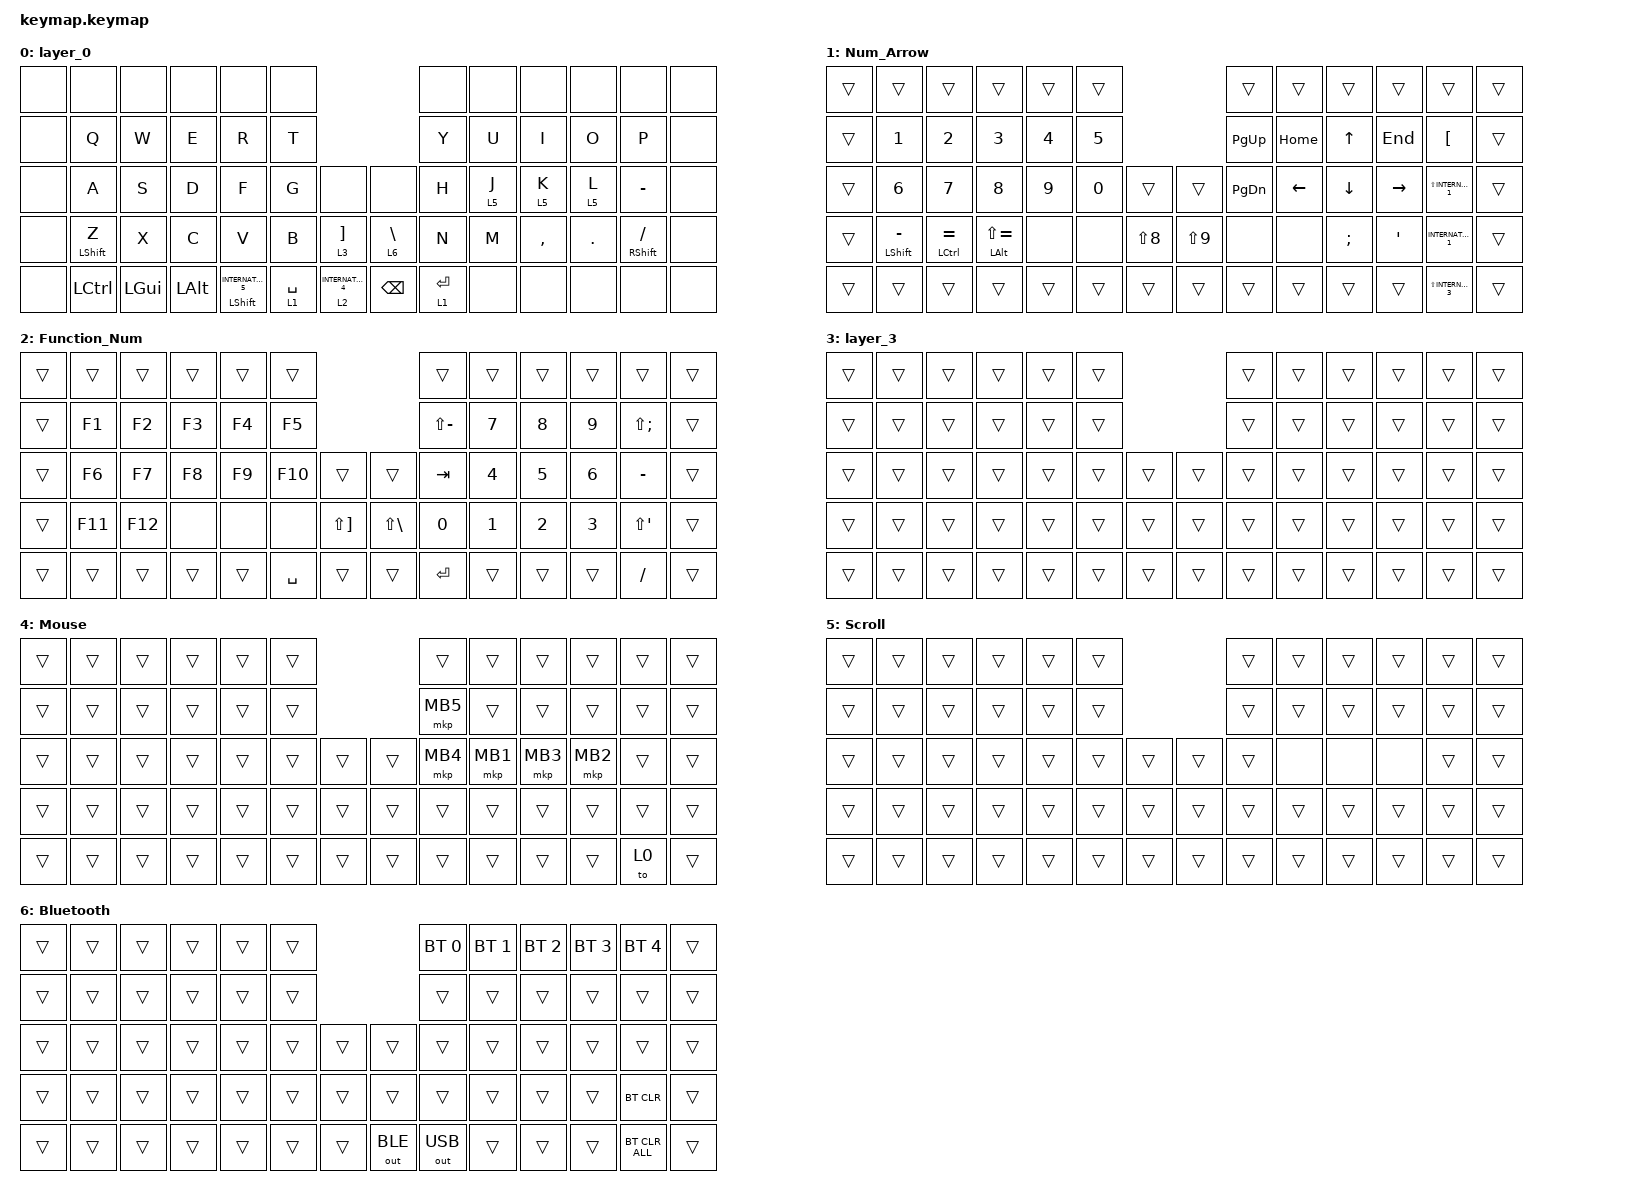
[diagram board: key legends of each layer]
#include <behaviors.dtsi>
#include <dt-bindings/zmk/bt.h>
#include <dt-bindings/zmk/keys.h>
#include <dt-bindings/zmk/outputs.h>
#include <dt-bindings/zmk/pointing.h>

&mt {
    flavor = "balanced";
    tapping-term-ms = <300>;
};

&lt {
    tapping-term-ms = <300>;
    flavor = "balanced";
};

/ {
    combos {
        compatible = "zmk,combos";

        tab {
            bindings = <&kp TAB>;
            key-positions = <13 14>;
        };

        esc {
            bindings = <&kp ESC>;
            key-positions = <13 14 15>;
        };

        del {
            bindings = <&kp DEL>;
            key-positions = <21 22>;
        };

        mouseL {
            bindings = <&mkp LCLK>;
            key-positions = <33 34>;
        };

        mouseR {
            bindings = <&mkp RCLK>;
            key-positions = <34 35>;
        };

        mouseM {
            bindings = <&mkp MCLK>;
            key-positions = <33 35>;
        };

        back {
            bindings = <&mkp MB4>;
            key-positions = <32 33>;
        };

        forward {
            bindings = <&mkp MB5>;
            key-positions = <18 19>;
        };

        curveL {
            bindings = <&kp LS(NUMBER_8)>;
            key-positions = <17 29>;
        };

        curveR {
            bindings = <&kp LS(NUMBER_9)>;
            key-positions = <18 32>;
        };

        dclick {
            bindings = <&dclick>;
            key-positions = <33 34 35>;
        };

        dclick2 {
            bindings = <&dclick>;
            key-positions = <33 19>;
        };

        bracketL {
            bindings = <&kp RIGHT_BRACKET>;
            key-positions = <29 43>;
        };

        bracketR {
            bindings = <&kp BACKSLASH>;
            key-positions = <32 46>;
        };

        toLayer4 {
            bindings = <&to 4>;
            key-positions = <63 64>;
        };
    };

    macros {
        dclick: dclick {
            compatible = "zmk,behavior-macro";
            #binding-cells = <0>;
            bindings = <&mkp LCLK &mkp LCLK>;
            label = "DCLICK";
        };
    };

    keymap {
        compatible = "zmk,keymap";

        layer_0 {
            bindings = <
&none  &none             &none     &none     &none                           &none                                                &none        &none    &none      &none    &none                 &none
&none  &kp Q             &kp W     &kp E     &kp R                           &kp T                                                &kp Y        &kp U    &kp I      &kp O    &kp P                 &none
&none  &kp A             &kp S     &kp D     &kp F                           &kp G        &none                  &none            &kp H        &lt 5 J  &lt 5 K    &lt 5 L  &kp MINUS             &none
&none  &mt LEFT_SHIFT Z  &kp X     &kp C     &kp V                           &kp B        &lt 3 RIGHT_BRACKET    &lt 6 BACKSLASH  &kp N        &kp M    &kp COMMA  &kp DOT  &mt RIGHT_SHIFT FSLH  &none
&none  &kp LCTRL         &kp LGUI  &kp LALT  &mt LEFT_SHIFT INTERNATIONAL_5  &lt 1 SPACE  &lt 2 INTERNATIONAL_4  &kp BACKSPACE    &lt 1 ENTER  &none    &none      &none    &none                 &none
            >;
        };

        Num_Arrow {
            bindings = <
&trans  &trans                &trans                  &trans                  &trans        &trans                                            &trans         &trans    &trans         &trans     &trans                   &trans
&trans  &kp NUMBER_1          &kp NUMBER_2            &kp NUMBER_3            &kp NUMBER_4  &kp N5                                            &kp PAGE_UP    &kp HOME  &kp UP         &kp END    &kp LEFT_BRACKET         &trans
&trans  &kp NUMBER_6          &kp NUMBER_7            &kp NUMBER_8            &kp NUMBER_9  &kp NUMBER_0  &trans            &trans            &kp PAGE_DOWN  &kp LEFT  &kp DOWN       &kp RIGHT  &kp LS(INTERNATIONAL_1)  &trans
&trans  &mt LEFT_SHIFT MINUS  &mt LEFT_CONTROL EQUAL  &mt LEFT_ALT LS(EQUAL)  &none         &none         &kp LS(NUMBER_8)  &kp LS(NUMBER_9)  &none          &none     &kp SEMICOLON  &kp SQT    &kp INTERNATIONAL_1      &trans
&trans  &trans                &trans                  &trans                  &trans        &trans        &trans            &trans            &trans         &trans    &trans         &trans     &kp LS(INTERNATIONAL_3)  &trans
            >;
        };

        Function_Num {
            bindings = <
&trans  &trans   &trans   &trans  &trans  &trans                                               &trans         &trans        &trans        &trans        &trans             &trans
&trans  &kp F1   &kp F2   &kp F3  &kp F4  &kp F5                                               &kp LS(MINUS)  &kp NUMBER_7  &kp NUMBER_8  &kp NUMBER_9  &kp LS(SEMICOLON)  &trans
&trans  &kp F6   &kp F7   &kp F8  &kp F9  &kp F10    &trans                 &trans             &kp TAB        &kp NUMBER_4  &kp NUMBER_5  &kp NUMBER_6  &kp MINUS          &trans
&trans  &kp F11  &kp F12  &none   &none   &none      &kp LS(RIGHT_BRACKET)  &kp LS(BACKSLASH)  &kp NUMBER_0   &kp NUMBER_1  &kp NUMBER_2  &kp NUMBER_3  &kp LS(SQT)        &trans
&trans  &trans   &trans   &trans  &trans  &kp SPACE  &trans                 &trans             &kp ENTER      &trans        &trans        &trans        &kp SLASH          &trans
            >;
        };

        layer_3 {
            bindings = <
&trans  &trans  &trans  &trans  &trans  &trans                  &trans  &trans  &trans  &trans  &trans  &trans
&trans  &trans  &trans  &trans  &trans  &trans                  &trans  &trans  &trans  &trans  &trans  &trans
&trans  &trans  &trans  &trans  &trans  &trans  &trans  &trans  &trans  &trans  &trans  &trans  &trans  &trans
&trans  &trans  &trans  &trans  &trans  &trans  &trans  &trans  &trans  &trans  &trans  &trans  &trans  &trans
&trans  &trans  &trans  &trans  &trans  &trans  &trans  &trans  &trans  &trans  &trans  &trans  &trans  &trans
            >;
        };

        Mouse {
            bindings = <
&trans  &trans  &trans  &trans  &trans  &trans                  &trans    &trans    &trans    &trans    &trans  &trans
&trans  &trans  &trans  &trans  &trans  &trans                  &mkp MB5  &trans    &trans    &trans    &trans  &trans
&trans  &trans  &trans  &trans  &trans  &trans  &trans  &trans  &mkp MB4  &mkp MB1  &mkp MB3  &mkp MB2  &trans  &trans
&trans  &trans  &trans  &trans  &trans  &trans  &trans  &trans  &trans    &trans    &trans    &trans    &trans  &trans
&trans  &trans  &trans  &trans  &trans  &trans  &trans  &trans  &trans    &trans    &trans    &trans    &to 0   &trans
            >;
        };

        Scroll {
            bindings = <
&trans  &trans  &trans  &trans  &trans  &trans                  &trans  &trans  &trans  &trans  &trans  &trans
&trans  &trans  &trans  &trans  &trans  &trans                  &trans  &trans  &trans  &trans  &trans  &trans
&trans  &trans  &trans  &trans  &trans  &trans  &trans  &trans  &trans  &none   &none   &none   &trans  &trans
&trans  &trans  &trans  &trans  &trans  &trans  &trans  &trans  &trans  &trans  &trans  &trans  &trans  &trans
&trans  &trans  &trans  &trans  &trans  &trans  &trans  &trans  &trans  &trans  &trans  &trans  &trans  &trans
            >;
        };

        Bluetooth {
            bindings = <
&trans  &trans  &trans  &trans  &trans  &trans                        &bt BT_SEL 0  &bt BT_SEL 1  &bt BT_SEL 2  &bt BT_SEL 3  &bt BT_SEL 4    &trans
&trans  &trans  &trans  &trans  &trans  &trans                        &trans        &trans        &trans        &trans        &trans          &trans
&trans  &trans  &trans  &trans  &trans  &trans  &trans  &trans        &trans        &trans        &trans        &trans        &trans          &trans
&trans  &trans  &trans  &trans  &trans  &trans  &trans  &trans        &trans        &trans        &trans        &trans        &bt BT_CLR      &trans
&trans  &trans  &trans  &trans  &trans  &trans  &trans  &out OUT_BLE  &out OUT_USB  &trans        &trans        &trans        &bt BT_CLR_ALL  &trans
            >;
        };
    };
};
